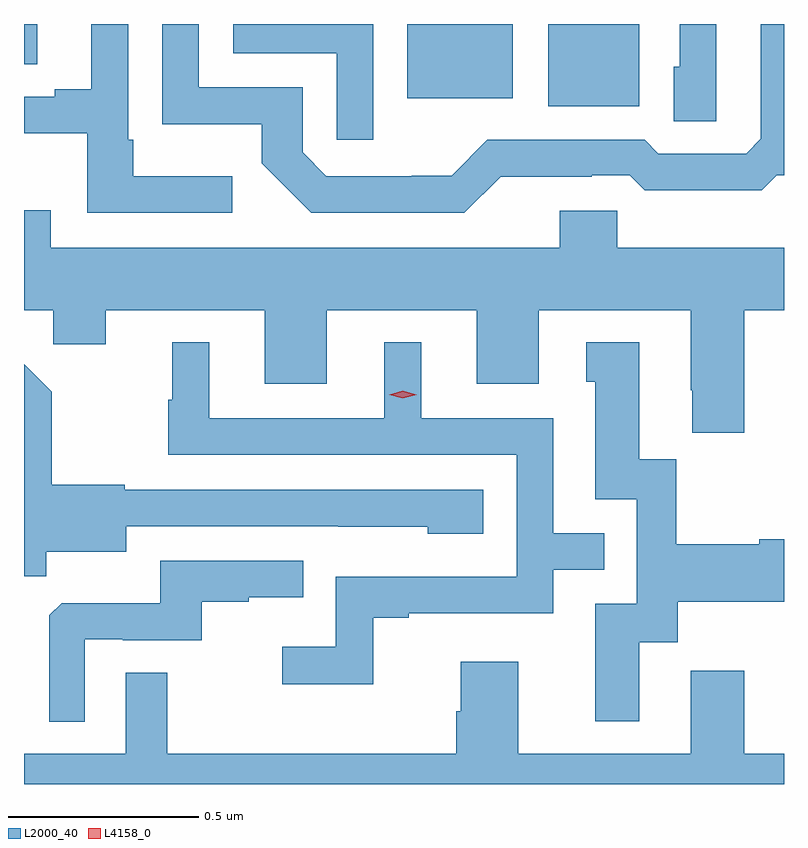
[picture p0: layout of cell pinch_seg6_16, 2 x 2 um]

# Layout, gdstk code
import gdstk
lib = gdstk.Library(unit=1e-6, precision=1e-09)
def R(c, l, rs):  # rectangles x0, y0, x1, y1
    for r in rs: c.add(gdstk.rectangle(r[:2], r[2:], *l))
def P(c, l, *ps):  # polygons
    for p in ps: c.add(gdstk.Polygon(p, *l))
L2000_40 = (2000, 40)
L4158_0 = (4158, 0)

pinch_seg6_16 = lib.new_cell('pinch_seg6_16')
R(pinch_seg6_16, L2000_40, [(966.932,959.861,967.171,960.077), (966.56,959.882,966.838,960.077), (965.552,959.971,965.587,960.077)])
P(pinch_seg6_16, L2000_40, [(966.1,959.677),(965.839,959.677),(965.839,959.773),(965.826,959.773),(965.826,960.077),(965.729,960.077),(965.729,959.905),(965.633,959.905),(965.633,959.886),(965.552,959.886),(965.552,959.789),(965.718,959.789),(965.718,959.58),(966.1,959.58)],
  [(966.806,959.675),(967.046,959.675),(967.046,959.679),(967.146,959.679),(967.186,959.64),(967.493,959.64),(967.533,959.679),(967.552,959.679),(967.552,960.077),(967.491,960.077),(967.491,959.775),(967.452,959.736),(967.221,959.736),(967.185,959.772),(966.771,959.772),(966.677,959.678),(966.572,959.678),(966.572,959.676),(966.348,959.676),(966.285,959.739),(966.285,959.91),(966.012,959.91),(966.012,960.077),(965.916,960.077),(965.916,959.813),(966.178,959.813),(966.178,959.711),(966.308,959.58),(966.711,959.58)],
  [(967.374,960.077),(967.278,960.077),(967.278,959.964),(967.262,959.964),(967.262,959.821),(967.374,959.821)],
  [(966.471,960.077),(966.102,960.077),(966.102,960),(966.375,960),(966.375,959.772),(966.471,959.772)],
  [(967.113,959.586),(966.962,959.586),(966.962,959.488),(965.623,959.488),(965.623,959.587),(965.552,959.587),(965.552,959.324),(965.629,959.324),(965.629,959.234),(965.767,959.234),(965.767,959.324),(966.185,959.324),(966.185,959.13),(966.349,959.13),(966.349,959.324),(966.743,959.324),(966.743,959.13),(966.907,959.13),(966.907,959.324),(967.307,959.324),(967.307,959.113),(967.31,959.113),(967.31,959.001),(967.447,959.001),(967.447,959.324),(967.552,959.324),(967.552,959.488),(967.113,959.488)],
  [(967.171,958.45),(967.273,958.45),(967.273,958.556),(967.552,958.556),(967.552,958.721),(967.487,958.721),(967.487,958.708),(967.269,958.708),(967.269,958.931),(967.171,958.931),(967.171,959.239),(967.031,959.239),(967.031,959.136),(967.055,959.136),(967.055,958.827),(967.164,958.827),(967.164,958.551),(967.055,958.551),(967.055,958.242),(967.171,958.242)],
  [(966.471,958.515),(966.565,958.515),(966.565,958.527),(966.945,958.527),(966.945,958.641),(967.079,958.641),(967.079,958.737),(966.945,958.737),(966.945,959.04),(966.598,959.04),(966.598,959.239),(966.5,959.239),(966.5,959.04),(966.04,959.04),(966.04,959.239),(965.942,959.239),(965.942,959.088),(965.931,959.088),(965.931,958.944),(966.849,958.944),(966.849,958.623),(966.372,958.623),(966.372,958.438),(966.231,958.438),(966.231,958.34),(966.471,958.34)],
  [(965.61,958.688),(965.821,958.688),(965.821,958.755),(966.379,958.755),(966.379,958.754),(966.615,958.754),(966.615,958.736),(966.76,958.736),(966.76,958.851),(965.817,958.851),(965.817,958.864),(965.625,958.864),(965.625,959.109),(965.552,959.182),(965.552,958.624),(965.61,958.624)],
  [(965.712,958.458),(965.812,958.458),(965.812,958.455),(966.02,958.455),(966.02,958.557),(966.143,958.557),(966.143,958.568),(966.287,958.568),(966.287,958.665),(965.91,958.665),(965.91,958.553),(965.651,958.553),(965.619,958.521),(965.619,958.241),(965.712,958.241)],
  [(967.552,958.156),(967.447,958.156),(967.447,958.375),(967.307,958.375),(967.307,958.156),(966.853,958.156),(966.853,958.399),(966.701,958.399),(966.701,958.269),(966.689,958.269),(966.689,958.156),(965.929,958.156),(965.929,958.37),(965.82,958.37),(965.82,958.156),(965.552,958.156),(965.552,958.077),(967.552,958.077)])
P(pinch_seg6_16, L4158_0, [(966.549,959.092),(966.513,959.102),(966.513,959.102),(966.513,959.102),(966.549,959.112),(966.585,959.102),(966.585,959.102),(966.585,959.102)])

lib.write_gds('pinch_seg6_16.gds')
